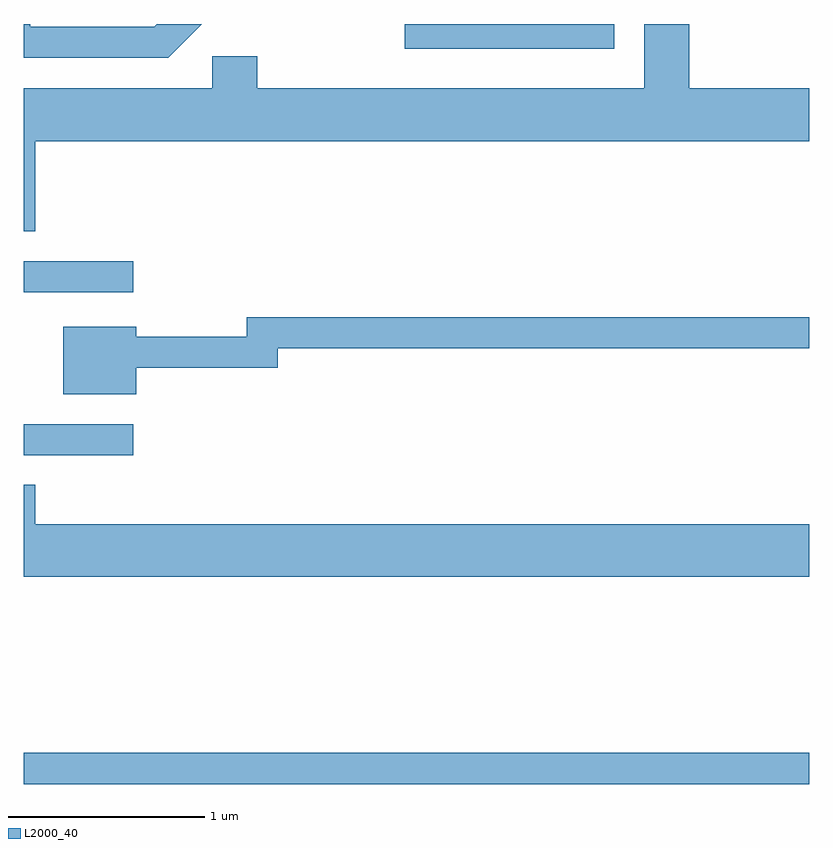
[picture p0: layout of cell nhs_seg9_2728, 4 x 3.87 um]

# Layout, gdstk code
import gdstk
lib = gdstk.Library(unit=1e-6, precision=1e-09)
def R(c, l, rs):  # rectangles x0, y0, x1, y1
    for r in rs: c.add(gdstk.rectangle(r[:2], r[2:], *l))
def P(c, l, *ps):  # polygons
    for p in ps: c.add(gdstk.Polygon(p, *l))
L2000_40 = (2000, 40)

nhs_seg9_2728 = lib.new_cell('nhs_seg9_2728')
R(nhs_seg9_2728, L2000_40, [(265.611,1968.561,269.611,1968.719), (265.611,1970.236,266.168,1970.394), (265.611,1971.066,266.168,1971.224), (267.551,1972.306,268.619,1972.432)])
P(nhs_seg9_2728, L2000_40, [(265.669,1971.836),(269.611,1971.836),(269.611,1972.104),(268.999,1972.104),(268.999,1972.432),(268.771,1972.432),(268.771,1972.104),(266.799,1972.104),(266.799,1972.269),(266.571,1972.269),(266.571,1972.104),(265.611,1972.104),(265.611,1971.376),(265.669,1971.376)],
  [(266.518,1972.432),(266.287,1972.432),(266.274,1972.419),(265.644,1972.419),(265.644,1972.432),(265.611,1972.432),(265.611,1972.261),(266.347,1972.261)],
  [(266.184,1970.681),(266.904,1970.681),(266.904,1970.781),(269.611,1970.781),(269.611,1970.939),(266.746,1970.939),(266.746,1970.839),(266.184,1970.839),(266.184,1970.889),(265.811,1970.889),(265.811,1970.546),(266.184,1970.546)],
  [(269.611,1969.884),(265.669,1969.884),(265.669,1970.084),(265.611,1970.084),(265.611,1969.616),(269.611,1969.616)])

lib.write_gds('nhs_seg9_2728.gds')
